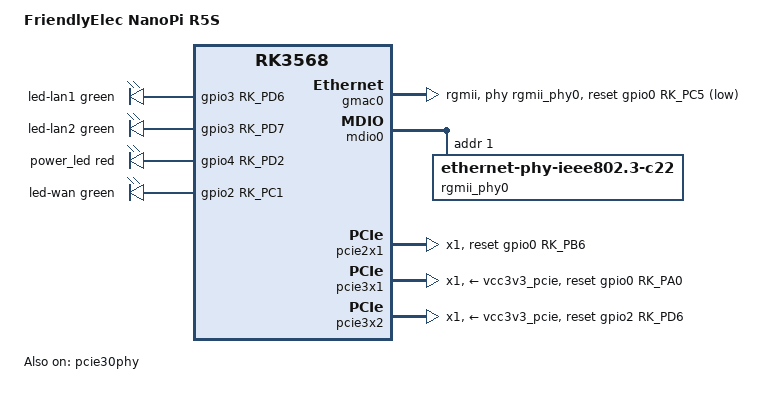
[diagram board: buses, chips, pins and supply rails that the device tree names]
// SPDX-License-Identifier: GPL-2.0-or-later OR MIT
/*
 * Copyright (c) 2022 FriendlyElec Computer Tech. Co., Ltd.
 * (http://www.friendlyelec.com)
 *
 * Copyright (c) 2023 Tianling Shen <cnsztl@gmail.com>
 */

/dts-v1/;
#include "rk3568-nanopi-r5s.dtsi"

/ {
	model = "FriendlyElec NanoPi R5S";
	compatible = "friendlyarm,nanopi-r5s", "rockchip,rk3568";

	aliases {
		ethernet0 = &gmac0;
	};

	gpio-leds {
		compatible = "gpio-leds";
		pinctrl-names = "default";
		pinctrl-0 = <&lan1_led_pin>, <&lan2_led_pin>, <&power_led_pin>, <&wan_led_pin>;

		led-lan1 {
			color = <LED_COLOR_ID_GREEN>;
			function = LED_FUNCTION_LAN;
			function-enumerator = <1>;
			gpios = <&gpio3 RK_PD6 GPIO_ACTIVE_HIGH>;
		};

		led-lan2 {
			color = <LED_COLOR_ID_GREEN>;
			function = LED_FUNCTION_LAN;
			function-enumerator = <2>;
			gpios = <&gpio3 RK_PD7 GPIO_ACTIVE_HIGH>;
		};

		power_led: led-power {
			color = <LED_COLOR_ID_RED>;
			function = LED_FUNCTION_POWER;
			linux,default-trigger = "heartbeat";
			gpios = <&gpio4 RK_PD2 GPIO_ACTIVE_HIGH>;
		};

		led-wan {
			color = <LED_COLOR_ID_GREEN>;
			function = LED_FUNCTION_WAN;
			gpios = <&gpio2 RK_PC1 GPIO_ACTIVE_HIGH>;
		};
	};
};

&gmac0 {
	assigned-clocks = <&cru SCLK_GMAC0_RX_TX>, <&cru SCLK_GMAC0>;
	assigned-clock-parents = <&cru SCLK_GMAC0_RGMII_SPEED>, <&cru CLK_MAC0_2TOP>;
	assigned-clock-rates = <0>, <125000000>;
	clock_in_out = "output";
	phy-handle = <&rgmii_phy0>;
	phy-mode = "rgmii";
	pinctrl-names = "default";
	pinctrl-0 = <&gmac0_miim
		     &gmac0_tx_bus2
		     &gmac0_rx_bus2
		     &gmac0_rgmii_clk
		     &gmac0_rgmii_bus>;
	snps,reset-gpio = <&gpio0 RK_PC5 GPIO_ACTIVE_LOW>;
	snps,reset-active-low;
	/* Reset time is 15ms, 50ms for rtl8211f */
	snps,reset-delays-us = <0 15000 50000>;
	tx_delay = <0x3c>;
	rx_delay = <0x2f>;
	status = "okay";
};

&mdio0 {
	rgmii_phy0: ethernet-phy@1 {
		compatible = "ethernet-phy-ieee802.3-c22";
		reg = <1>;
		pinctrl-0 = <&eth_phy0_reset_pin>;
		pinctrl-names = "default";
	};
};

&pcie2x1 {
	num-lanes = <1>;
	reset-gpios = <&gpio0 RK_PB6 GPIO_ACTIVE_HIGH>;
	status = "okay";
};

&pcie30phy {
	data-lanes = <1 2>;
	status = "okay";
};

&pcie3x1 {
	num-lanes = <1>;
	reset-gpios = <&gpio0 RK_PA0 GPIO_ACTIVE_HIGH>;
	vpcie3v3-supply = <&vcc3v3_pcie>;
	status = "okay";
};

&pcie3x2 {
	num-lanes = <1>;
	num-ib-windows = <8>;
	num-ob-windows = <8>;
	reset-gpios = <&gpio2 RK_PD6 GPIO_ACTIVE_HIGH>;
	vpcie3v3-supply = <&vcc3v3_pcie>;
	status = "okay";
};

&pinctrl {
	gmac0 {
		eth_phy0_reset_pin: eth-phy0-reset-pin {
			rockchip,pins = <0 RK_PC4 RK_FUNC_GPIO &pcfg_pull_up>;
		};
	};

	gpio-leds {
		lan1_led_pin: lan1-led-pin {
			rockchip,pins = <3 RK_PD6 RK_FUNC_GPIO &pcfg_pull_none>;
		};

		lan2_led_pin: lan2-led-pin {
			rockchip,pins = <3 RK_PD7 RK_FUNC_GPIO &pcfg_pull_none>;
		};

		power_led_pin: power-led-pin {
			rockchip,pins = <4 RK_PD2 RK_FUNC_GPIO &pcfg_pull_none>;
		};

		wan_led_pin: wan-led-pin {
			rockchip,pins = <2 RK_PC1 RK_FUNC_GPIO &pcfg_pull_none>;
		};
	};
};
